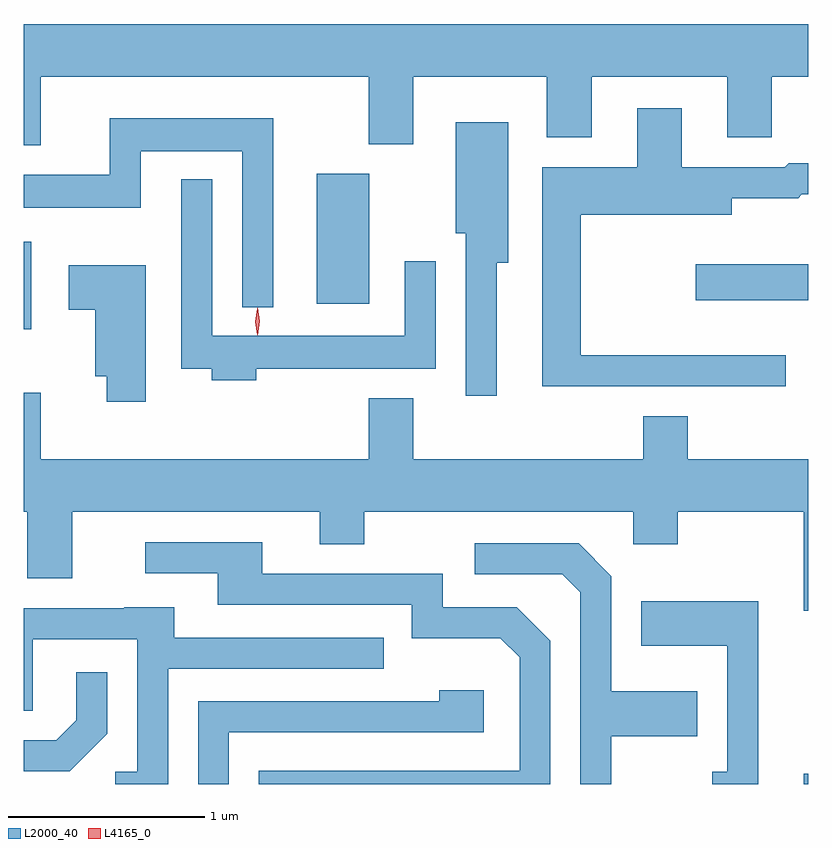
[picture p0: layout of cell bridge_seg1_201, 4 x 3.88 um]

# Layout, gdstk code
import gdstk
lib = gdstk.Library(unit=1e-6, precision=1e-09)
def R(c, l, rs):  # rectangles x0, y0, x1, y1
    for r in rs: c.add(gdstk.rectangle(r[:2], r[2:], *l))
def P(c, l, *ps):  # polygons
    for p in ps: c.add(gdstk.Polygon(p, *l))
L2000_40 = (2000, 40)
L4165_0 = (4165, 0)

bridge_seg1_201 = lib.new_cell('bridge_seg1_201')
R(bridge_seg1_201, L2000_40, [(707.621,951.467,707.643,951.519), (703.643,953.786,703.679,954.234), (705.136,953.916,705.404,954.579), (707.071,953.936,707.643,954.119)])
P(bridge_seg1_201, L2000_40, [(703.729,955.076),(705.401,955.076),(705.401,954.731),(705.629,954.731),(705.629,955.076),(706.311,955.076),(706.311,954.766),(706.539,954.766),(706.539,955.076),(707.231,955.076),(707.231,954.766),(707.459,954.766),(707.459,955.076),(707.643,955.076),(707.643,955.344),(703.643,955.344),(703.643,954.726),(703.729,954.726)],
  [(707.528,953.654),(706.484,953.654),(706.484,954.371),(707.254,954.371),(707.254,954.456),(707.592,954.456),(707.612,954.476),(707.643,954.476),(707.643,954.634),(707.544,954.634),(707.524,954.614),(706.999,954.614),(706.999,954.914),(706.771,954.914),(706.771,954.614),(706.286,954.614),(706.286,953.496),(707.528,953.496)],
  [(704.914,954.864),(704.081,954.864),(704.081,954.574),(703.643,954.574),(703.643,954.406),(704.239,954.406),(704.239,954.696),(704.756,954.696),(704.756,953.898),(704.914,953.898)],
  [(706.054,954.126),(706.114,954.126),(706.114,954.844),(705.846,954.844),(705.846,954.276),(705.896,954.276),(705.896,953.448),(706.054,953.448)],
  [(704.829,953.586),(705.744,953.586),(705.744,954.133),(705.586,954.133),(705.586,953.754),(704.604,953.754),(704.604,954.553),(704.446,954.553),(704.446,953.586),(704.601,953.586),(704.601,953.526),(704.829,953.526)],
  [(704.264,954.114),(703.871,954.114),(703.871,953.886),(704.006,953.886),(704.006,953.546),(704.066,953.546),(704.066,953.416),(704.264,953.416)],
  [(707.643,953.124),(707.029,953.124),(707.029,953.344),(706.801,953.344),(706.801,953.124),(705.629,953.124),(705.629,953.434),(705.401,953.434),(705.401,953.124),(703.729,953.124),(703.729,953.464),(703.643,953.464),(703.643,952.856),(703.661,952.856),(703.661,952.516),(703.889,952.516),(703.889,952.856),(705.151,952.856),(705.151,952.691),(705.379,952.691),(705.379,952.856),(706.751,952.856),(706.751,952.691),(706.979,952.691),(706.979,952.856),(707.621,952.856),(707.621,952.351),(707.643,952.351)],
  [(706.329,952.197),(706.157,952.369),(705.779,952.369),(705.779,952.539),(704.859,952.539),(704.859,952.699),(704.263,952.699),(704.263,952.541),(704.631,952.541),(704.631,952.381),(705.621,952.381),(705.621,952.211),(706.074,952.211),(706.171,952.114),(706.171,951.534),(704.841,951.534),(704.841,951.467),(706.329,951.467)],
  [(706.639,951.711),(707.079,951.711),(707.079,951.939),(706.639,951.939),(706.639,952.527),(706.472,952.694),(705.943,952.694),(705.943,952.536),(706.389,952.536),(706.481,952.444),(706.481,951.467),(706.639,951.467)],
  [(707.389,952.399),(706.791,952.399),(706.791,952.171),(707.231,952.171),(707.231,951.529),(707.153,951.529),(707.153,951.467),(707.389,951.467)],
  [(704.379,952.056),(705.478,952.056),(705.478,952.214),(704.409,952.214),(704.409,952.369),(704.155,952.369),(704.155,952.364),(703.643,952.364),(703.643,951.841),(703.689,951.841),(703.689,952.206),(704.221,952.206),(704.221,951.529),(704.108,951.529),(704.108,951.467),(704.379,951.467)],
  [(704.013,951.667),(704.069,951.724),(704.069,952.038),(703.911,952.038),(703.911,951.792),(703.809,951.689),(703.643,951.689),(703.643,951.531),(703.877,951.531)],
  [(704.689,951.731),(705.989,951.731),(705.989,951.944),(705.761,951.944),(705.761,951.889),(704.531,951.889),(704.531,951.467),(704.689,951.467)])
P(bridge_seg1_201, L4165_0, [(704.834,953.759),(704.834,953.76),(704.824,953.826),(704.834,953.892),(704.834,953.893),(704.835,953.892),(704.844,953.826),(704.835,953.76)],
  [(704.835,953.757),(704.826,953.827),(704.835,953.896),(704.836,953.896),(704.836,953.896),(704.845,953.827),(704.836,953.757),(704.836,953.757)])

lib.write_gds('bridge_seg1_201.gds')
